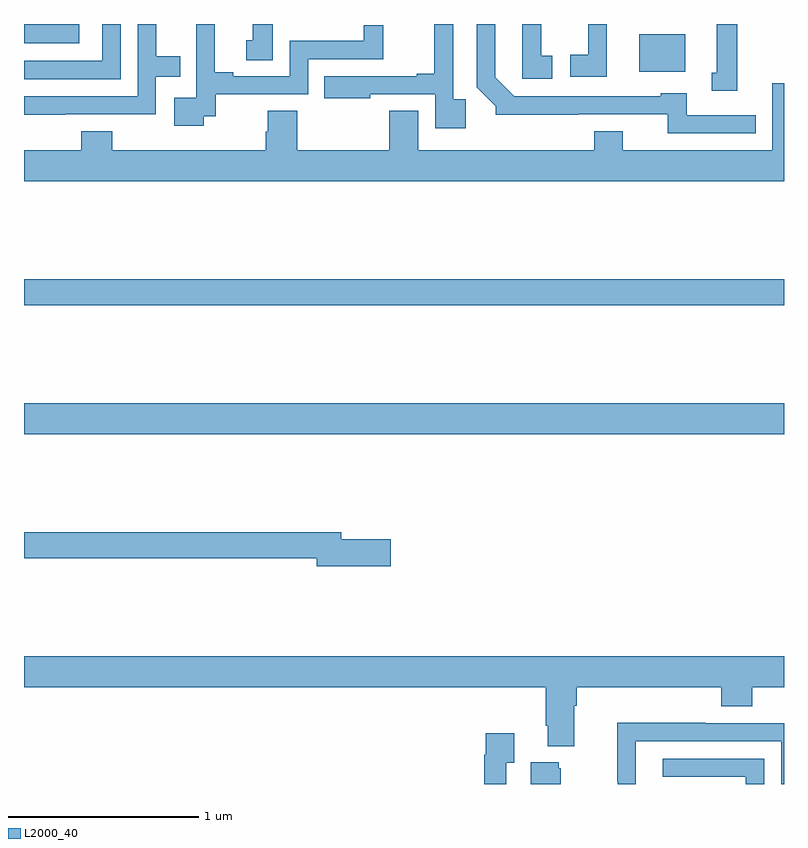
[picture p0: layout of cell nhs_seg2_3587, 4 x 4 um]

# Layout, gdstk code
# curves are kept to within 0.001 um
import gdstk
lib = gdstk.Library(unit=1e-6, precision=1e-09)
def R(c, l, rs):  # rectangles x0, y0, x1, y1
    for r in rs: c.add(gdstk.rectangle(r[:2], r[2:], *l))
def P(c, l, *ps):  # polygons
    for p in ps: c.add(gdstk.Polygon(p, *l))
L2000_40 = (2000, 40)

nhs_seg2_3587 = lib.new_cell('nhs_seg2_3587')
R(nhs_seg2_3587, L2000_40, [(299,643.64,303,643.804), (299,644.32,303,644.456), (302.237,645.548,302.479,645.745), (299,645.698,299.29,645.8)])
P(nhs_seg2_3587, L2000_40, [(299.946,645.315),(300.008,645.315),(300.008,645.429),(300.495,645.429),(300.495,645.615),(300.89,645.615),(300.89,645.793),(300.789,645.793),(300.789,645.711),(300.399,645.711),(300.399,645.525),(300.1,645.525),(300.1,645.545),(300.004,645.545),(300.004,645.8),(299.906,645.8),(299.906,645.715),(299.907,645.715),(299.907,645.411),(299.79,645.411),(299.79,645.264),(299.946,645.264)],
  [(299.508,645.8),(299.412,645.8),(299.412,645.606),(299,645.606),(299,645.51),(299.508,645.51)],
  [(302.852,645.321),(302.488,645.321),(302.488,645.436),(302.352,645.436),(302.352,645.42),(301.581,645.42),(301.48,645.521),(301.48,645.8),(301.383,645.8),(301.383,645.466),(301.482,645.367),(301.482,645.323),(302.389,645.324),(302.389,645.225),(302.852,645.225)],
  [(302.755,645.8),(302.645,645.8),(302.645,645.543),(302.621,645.543),(302.621,645.449),(302.755,645.449)],
  [(302.068,645.8),(301.969,645.8),(301.969,645.638),(301.875,645.638),(301.875,645.522),(302.068,645.522)],
  [(301.325,645.403),(301.26,645.403),(301.26,645.8),(301.159,645.8),(301.159,645.538),(301.067,645.538),(301.067,645.525),(300.58,645.525),(300.58,645.41),(300.823,645.41),(300.823,645.429),(301.164,645.429),(301.164,645.252),(301.325,645.252)],
  [(300.31,645.8),(300.203,645.8),(300.203,645.714),(300.17,645.714),(300.17,645.61),(300.31,645.61)],
  [(299.216,645.324),(299.694,645.324),(299.694,645.522),(299.822,645.522),(299.822,645.631),(299.695,645.631),(299.695,645.8),(299.598,645.8),(299.598,645.42),(299,645.42),(299,645.323),(299.216,645.323)],
  [(301.78,645.633),(301.722,645.633),(301.722,645.8),(301.623,645.8),(301.623,645.788),(301.622,645.788),(301.622,645.513),(301.78,645.513)],
  [(303,645.487),(302.937,645.487),(302.937,645.136),(302.152,645.136),(302.152,645.235),(302,645.235),(302,645.136),(301.075,645.136),(301.075,645.344),(300.923,645.344),(300.923,645.136),(300.437,645.136),(300.437,645.344),(300.284,645.344),(300.284,645.234),(300.272,645.234),(300.272,645.136),(299.465,645.136),(299.465,645.235),(299.3,645.235),(299.3,645.136),(299,645.136),(299,644.972),(303,644.972)],
  [(300.931,643.088),(300.67,643.088),(300.67,643.124),(299,643.124),(299,642.988),(300.542,642.988),(300.542,642.946),(300.931,642.946)],
  [(301.897,642.212),(301.91,642.212),(301.91,642.308),(302.669,642.308),(302.669,642.209),(302.834,642.209),(302.834,642.308),(303,642.308),(303,642.472),(299,642.472),(299,642.308),(301.745,642.308),(301.745,642.106),(301.757,642.106),(301.757,641.999),(301.897,641.999)],
  [(302.221,642.024),(302.985,642.024),(302.985,641.8),(303,641.8),(303,642.12),(302.585,642.12),(302.585,642.122),(302.122,642.122),(302.122,641.815),(302.124,641.815),(302.124,641.8),(302.221,641.8)],
  [(301.539,641.911),(301.579,641.911),(301.579,642.067),(301.431,642.067),(301.431,641.954),(301.423,641.954),(301.423,641.8),(301.539,641.8)],
  [(302.895,641.934),(302.361,641.934),(302.361,641.838),(302.799,641.838),(302.799,641.8),(302.895,641.8)],
  [(301.825,641.883),(301.814,641.883),(301.814,641.914),(301.667,641.914),(301.667,641.8),(301.825,641.8)])

lib.write_gds('nhs_seg2_3587.gds')
